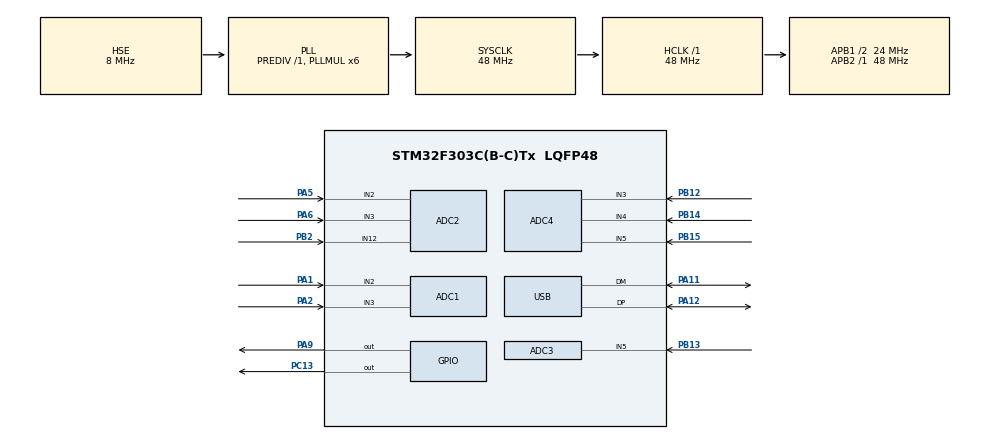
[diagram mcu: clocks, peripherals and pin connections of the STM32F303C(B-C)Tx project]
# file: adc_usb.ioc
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ADC1.Channel-0\#ChannelRegularConversion=ADC_CHANNEL_2
ADC1.Channel-1\#ChannelRegularConversion=ADC_CHANNEL_3
ADC1.Channel-2\#ChannelRegularConversion=ADC_CHANNEL_TEMPSENSOR
ADC1.Channel-3\#ChannelRegularConversion=ADC_CHANNEL_VREFINT
ADC1.ContinuousConvMode=ENABLE
ADC1.NbrOfConversion=4
ADC1.NbrOfConversionFlag=1
ADC1.Offset-0\#ChannelRegularConversion=0
ADC1.Offset-1\#ChannelRegularConversion=0
ADC1.Offset-2\#ChannelRegularConversion=0
ADC1.Offset-3\#ChannelRegularConversion=0
ADC1.OffsetNumber-0\#ChannelRegularConversion=ADC_OFFSET_NONE
ADC1.OffsetNumber-1\#ChannelRegularConversion=ADC_OFFSET_NONE
ADC1.OffsetNumber-2\#ChannelRegularConversion=ADC_OFFSET_NONE
ADC1.OffsetNumber-3\#ChannelRegularConversion=ADC_OFFSET_NONE
ADC1.Rank-0\#ChannelRegularConversion=1
ADC1.Rank-1\#ChannelRegularConversion=2
ADC1.Rank-2\#ChannelRegularConversion=3
ADC1.Rank-3\#ChannelRegularConversion=4
ADC1.SamplingTime-0\#ChannelRegularConversion=ADC_SAMPLETIME_601CYCLES_5
ADC1.SamplingTime-1\#ChannelRegularConversion=ADC_SAMPLETIME_601CYCLES_5
ADC1.SamplingTime-2\#ChannelRegularConversion=ADC_SAMPLETIME_601CYCLES_5
ADC1.SamplingTime-3\#ChannelRegularConversion=ADC_SAMPLETIME_601CYCLES_5
ADC1.SamplingTimeOPAMP-3\#ChannelRegularConversion=ADC_SAMPLETIME_19CYCLES_5
ADC1.master=1
ADC2.Channel-0\#ChannelRegularConversion=ADC_CHANNEL_2
ADC2.Channel-1\#ChannelRegularConversion=ADC_CHANNEL_3
ADC2.Channel-2\#ChannelRegularConversion=ADC_CHANNEL_12
ADC2.ContinuousConvMode=ENABLE
ADC2.NbrOfConversion=3
ADC2.NbrOfConversionFlag=1
ADC2.Offset-0\#ChannelRegularConversion=0
ADC2.Offset-1\#ChannelRegularConversion=0
ADC2.Offset-2\#ChannelRegularConversion=0
ADC2.OffsetNumber-0\#ChannelRegularConversion=ADC_OFFSET_NONE
ADC2.OffsetNumber-1\#ChannelRegularConversion=ADC_OFFSET_NONE
ADC2.OffsetNumber-2\#ChannelRegularConversion=ADC_OFFSET_NONE
ADC2.Rank-0\#ChannelRegularConversion=1
ADC2.Rank-1\#ChannelRegularConversion=2
ADC2.Rank-2\#ChannelRegularConversion=3
ADC2.SamplingTime-0\#ChannelRegularConversion=ADC_SAMPLETIME_601CYCLES_5
ADC2.SamplingTime-1\#ChannelRegularConversion=ADC_SAMPLETIME_601CYCLES_5
ADC2.SamplingTime-2\#ChannelRegularConversion=ADC_SAMPLETIME_601CYCLES_5
ADC2.SamplingTimeOPAMP-1\#ChannelRegularConversion=ADC_SAMPLETIME_19CYCLES_5
ADC2.SamplingTimeOPAMP-2\#ChannelRegularConversion=ADC_SAMPLETIME_19CYCLES_5
ADC3.Channel-0\#ChannelRegularConversion=ADC_CHANNEL_5
ADC3.ContinuousConvMode=ENABLE
ADC3.NbrOfConversionFlag=1
ADC3.Offset-0\#ChannelRegularConversion=0
ADC3.OffsetNumber-0\#ChannelRegularConversion=ADC_OFFSET_NONE
ADC3.Rank-0\#ChannelRegularConversion=1
ADC3.SamplingTime-0\#ChannelRegularConversion=ADC_SAMPLETIME_601CYCLES_5
ADC3.SamplingTimeOPAMP-0\#ChannelRegularConversion=ADC_SAMPLETIME_19CYCLES_5
ADC3.master=1
ADC4.Channel-0\#ChannelRegularConversion=ADC_CHANNEL_3
ADC4.Channel-3\#ChannelRegularConversion=ADC_CHANNEL_4
ADC4.Channel-4\#ChannelRegularConversion=ADC_CHANNEL_5
ADC4.ContinuousConvMode=ENABLE
ADC4.NbrOfConversion=3
ADC4.NbrOfConversionFlag=1
ADC4.Offset-3\#ChannelRegularConversion=0
ADC4.Offset-4\#ChannelRegularConversion=0
ADC4.OffsetNumber-3\#ChannelRegularConversion=ADC_OFFSET_NONE
ADC4.OffsetNumber-4\#ChannelRegularConversion=ADC_OFFSET_NONE
ADC4.Rank-3\#ChannelRegularConversion=2
ADC4.Rank-4\#ChannelRegularConversion=3
ADC4.SamplingTime-0\#ChannelRegularConversion=ADC_SAMPLETIME_601CYCLES_5
ADC4.SamplingTime-3\#ChannelRegularConversion=ADC_SAMPLETIME_601CYCLES_5
ADC4.SamplingTime-4\#ChannelRegularConversion=ADC_SAMPLETIME_601CYCLES_5
ADC4.SamplingTimeOPAMP-3\#ChannelRegularConversion=ADC_SAMPLETIME_19CYCLES_5
ADC4.SamplingTimeOPAMP-4\#ChannelRegularConversion=ADC_SAMPLETIME_19CYCLES_5
ADC4.SequencerNbRanks=1
Mcu.Family=STM32F3
Mcu.Name=STM32F303C(B-C)Tx
Mcu.Package=LQFP48
NVIC.PriorityGroup=NVIC_PRIORITYGROUP_4
NVIC.USB_LP_CAN_RX0_IRQn=true\:0\:0\:false\:false\:true\:false\:true\:true
PA1.Mode=IN2-Single-Ended
PA1.Signal=ADC1_IN2
PA11.Mode=Device
PA11.Signal=USB_DM
PA12.Mode=Device
PA12.Signal=USB_DP
PA2.Mode=IN3-Single-Ended
PA2.Signal=ADC1_IN3
PA5.Mode=IN2-Single-Ended
PA5.Signal=ADC2_IN2
PA6.Mode=IN3-Single-Ended
PA6.Signal=ADC2_IN3
PA9.Signal=GPIO_Output
PB12.Mode=IN3-Single-Ended
PB12.Signal=ADC4_IN3
PB13.Mode=IN5-Single-Ended
PB13.Signal=ADC3_IN5
PB14.Mode=IN4-Single-Ended
PB14.Signal=ADC4_IN4
PB15.Mode=IN5-Single-Ended
PB15.Signal=ADC4_IN5
PB2.Mode=IN12-Single-Ended
PB2.Signal=ADC2_IN12
PC13.Signal=GPIO_Output
PF0-OSC_IN.Mode=HSE-External-Oscillator
PF0-OSC_IN.Signal=RCC_OSC_IN
PF1-OSC_OUT.Mode=HSE-External-Oscillator
PF1-OSC_OUT.Signal=RCC_OSC_OUT
ProjectManager.HeapSize=0x200
ProjectManager.StackSize=0x400
ProjectManager.TargetToolchain=CMake
RCC.AHBFreq_Value=48000000
RCC.APB1CLKDivider=RCC_HCLK_DIV2
RCC.APB1Freq_Value=24000000
RCC.APB1TimFreq_Value=48000000
RCC.APB2Freq_Value=48000000
RCC.APB2TimFreq_Value=48000000
RCC.CortexFreq_Value=48000000
RCC.HCLKFreq_Value=48000000
RCC.HSE_VALUE=8000000
RCC.HSI_VALUE=8000000
RCC.LSE_VALUE=32768
RCC.PLLMUL=RCC_PLL_MUL6
RCC.SYSCLKFreq_VALUE=48000000
RCC.SYSCLKSourceVirtual=RCC_SYSCLKSOURCE_PLLCLK
RCC.USBFreq_Value=48000000
USB_DEVICE.CLASS_NAME_FS=CDC
USB_DEVICE.USBD_DEBUG_LEVEL=3
USB_DEVICE.USBD_MAX_STR_DESC_SIZ=512
USB_DEVICE.VirtualMode=Cdc
USB_DEVICE.VirtualModeFS=Cdc_FS
VP_ADC1_TempSens_Input.Mode=IN-TempSens
VP_ADC1_Vref_Input.Mode=IN-Vrefint
VP_USB_DEVICE_VS_USB_DEVICE_CDC_FS.Mode=CDC_FS
board=custom

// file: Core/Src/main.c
/* USER CODE BEGIN Header */
/**
  ******************************************************************************
  * @file           : main.c
  * @brief          : Main program body
  ******************************************************************************
  * @attention
  *
  * Copyright (c) 2024 STMicroelectronics.
  * All rights reserved.
  *
  * This software is licensed under terms that can be found in the LICENSE file
  * in the root directory of this software component.
  * If no LICENSE file comes with this software, it is provided AS-IS.
  *
  ******************************************************************************
  */
/* USER CODE END Header */
#include "main.h"
#include "usb_device.h"

/* USER CODE BEGIN Includes */
#include "adc_read.h"
/* USER CODE END Includes */

ADC_HandleTypeDef hadc1;
ADC_HandleTypeDef hadc2;
ADC_HandleTypeDef hadc3;
ADC_HandleTypeDef hadc4;

void SystemClock_Config(void);
static void MX_GPIO_Init(void);
static void MX_ADC4_Init(void);
static void MX_ADC1_Init(void);
static void MX_ADC2_Init(void);
static void MX_ADC3_Init(void);

int main(void)
{

  /* MCU Configuration--------------------------------------------------------*/

  /* Reset of all peripherals, Initializes the Flash interface and the Systick. */
  HAL_Init();

  /* Configure the system clock */
  SystemClock_Config();

  /* Initialize all configured peripherals */
  MX_GPIO_Init();
  MX_ADC4_Init();
  MX_USB_DEVICE_Init();
  MX_ADC1_Init();
  MX_ADC2_Init();
  MX_ADC3_Init();
  /* USER CODE BEGIN 2 */
  HAL_GPIO_WritePin(GPIOA, GPIO_PIN_9, GPIO_PIN_SET);
  /* USER CODE END 2 */

  /* Infinite loop */
  /* USER CODE BEGIN WHILE */
  int i=1;
  while (1)
  {
    // CDC_Transmit_FS(buffer, sizeof(buffer));
    HAL_GPIO_WritePin(GPIOC, GPIO_PIN_13, GPIO_PIN_SET);
    HAL_Delay(1000);
    HAL_GPIO_WritePin(GPIOC, GPIO_PIN_13, GPIO_PIN_RESET);
    HAL_Delay(1000);
    for (;i%10!=0; i++)
    {
      HAL_Delay(10);
      printf("ATTEMPTING TO OVERFLOW BUFFER %d\r\n", i);
    }
    i++;
    while (1)
    {
      HAL_Delay(1000);
      adc1_read(&hadc1);
      adc2_read(&hadc2);
      adc3_read(&hadc3);
      adc4_read(&hadc4);

    }
    /* USER CODE END WHILE */

  }
}

void SystemClock_Config(void)
{
  RCC_OscInitTypeDef RCC_OscInitStruct = {0};
  RCC_ClkInitTypeDef RCC_ClkInitStruct = {0};
  RCC_PeriphCLKInitTypeDef PeriphClkInit = {0};

  /** Initializes the RCC Oscillators according to the specified parameters
  * in the RCC_OscInitTypeDef structure.
  */
  RCC_OscInitStruct.OscillatorType = RCC_OSCILLATORTYPE_HSE;
  RCC_OscInitStruct.HSEState = RCC_HSE_ON;
  RCC_OscInitStruct.HSEPredivValue = RCC_HSE_PREDIV_DIV1;
  RCC_OscInitStruct.HSIState = RCC_HSI_ON;
  RCC_OscInitStruct.PLL.PLLState = RCC_PLL_ON;
  RCC_OscInitStruct.PLL.PLLSource = RCC_PLLSOURCE_HSE;
  RCC_OscInitStruct.PLL.PLLMUL = RCC_PLL_MUL6;
  if (HAL_RCC_OscConfig(&RCC_OscInitStruct) != HAL_OK)
  {
    Error_Handler();
  }

  /** Initializes the CPU, AHB and APB buses clocks
  */
  RCC_ClkInitStruct.ClockType = RCC_CLOCKTYPE_HCLK|RCC_CLOCKTYPE_SYSCLK
                              |RCC_CLOCKTYPE_PCLK1|RCC_CLOCKTYPE_PCLK2;
  RCC_ClkInitStruct.SYSCLKSource = RCC_SYSCLKSOURCE_PLLCLK;
  RCC_ClkInitStruct.AHBCLKDivider = RCC_SYSCLK_DIV1;
  RCC_ClkInitStruct.APB1CLKDivider = RCC_HCLK_DIV2;
  RCC_ClkInitStruct.APB2CLKDivider = RCC_HCLK_DIV1;

  if (HAL_RCC_ClockConfig(&RCC_ClkInitStruct, FLASH_LATENCY_1) != HAL_OK)
  {
    Error_Handler();
  }
  PeriphClkInit.PeriphClockSelection = RCC_PERIPHCLK_USB|RCC_PERIPHCLK_ADC12
                              |RCC_PERIPHCLK_ADC34;
  PeriphClkInit.Adc12ClockSelection = RCC_ADC12PLLCLK_DIV1;
  PeriphClkInit.Adc34ClockSelection = RCC_ADC34PLLCLK_DIV1;
  PeriphClkInit.USBClockSelection = RCC_USBCLKSOURCE_PLL;
  if (HAL_RCCEx_PeriphCLKConfig(&PeriphClkInit) != HAL_OK)
  {
    Error_Handler();
  }
}

static void MX_ADC1_Init(void)
{

  ADC_MultiModeTypeDef multimode = {0};
  ADC_ChannelConfTypeDef sConfig = {0};

  /** Common config
  */
  hadc1.Instance = ADC1;
  hadc1.Init.ClockPrescaler = ADC_CLOCK_ASYNC_DIV1;
  hadc1.Init.Resolution = ADC_RESOLUTION_12B;
  hadc1.Init.ScanConvMode = ADC_SCAN_ENABLE;
  hadc1.Init.ContinuousConvMode = ENABLE;
  hadc1.Init.DiscontinuousConvMode = DISABLE;
  hadc1.Init.ExternalTrigConvEdge = ADC_EXTERNALTRIGCONVEDGE_NONE;
  hadc1.Init.ExternalTrigConv = ADC_SOFTWARE_START;
  hadc1.Init.DataAlign = ADC_DATAALIGN_RIGHT;
  hadc1.Init.NbrOfConversion = 4;
  hadc1.Init.DMAContinuousRequests = DISABLE;
  hadc1.Init.EOCSelection = ADC_EOC_SINGLE_CONV;
  hadc1.Init.LowPowerAutoWait = DISABLE;
  hadc1.Init.Overrun = ADC_OVR_DATA_OVERWRITTEN;
  if (HAL_ADC_Init(&hadc1) != HAL_OK)
  {
    Error_Handler();
  }

  /** Configure the ADC multi-mode
  */
  multimode.Mode = ADC_MODE_INDEPENDENT;
  if (HAL_ADCEx_MultiModeConfigChannel(&hadc1, &multimode) != HAL_OK)
  {
    Error_Handler();
  }

  /** Configure Regular Channel
  */
  sConfig.Channel = ADC_CHANNEL_2;
  sConfig.Rank = ADC_REGULAR_RANK_1;
  sConfig.SingleDiff = ADC_SINGLE_ENDED;
  sConfig.SamplingTime = ADC_SAMPLETIME_601CYCLES_5;
  sConfig.OffsetNumber = ADC_OFFSET_NONE;
  sConfig.Offset = 0;
  if (HAL_ADC_ConfigChannel(&hadc1, &sConfig) != HAL_OK)
  {
    Error_Handler();
  }

  /** Configure Regular Channel
  */
  sConfig.Channel = ADC_CHANNEL_3;
  sConfig.Rank = ADC_REGULAR_RANK_2;
  if (HAL_ADC_ConfigChannel(&hadc1, &sConfig) != HAL_OK)
  {
    Error_Handler();
  }

  /** Configure Regular Channel
  */
  sConfig.Channel = ADC_CHANNEL_TEMPSENSOR;
  sConfig.Rank = ADC_REGULAR_RANK_3;
  if (HAL_ADC_ConfigChannel(&hadc1, &sConfig) != HAL_OK)
  {
    Error_Handler();
  }

  /** Configure Regular Channel
  */
  sConfig.Channel = ADC_CHANNEL_VREFINT;
  sConfig.Rank = ADC_REGULAR_RANK_4;
  if (HAL_ADC_ConfigChannel(&hadc1, &sConfig) != HAL_OK)
  {
    Error_Handler();
  }

}

static void MX_ADC2_Init(void)
{

  ADC_ChannelConfTypeDef sConfig = {0};

  /** Common config
  */
  hadc2.Instance = ADC2;
  hadc2.Init.ClockPrescaler = ADC_CLOCK_ASYNC_DIV1;
  hadc2.Init.Resolution = ADC_RESOLUTION_12B;
  hadc2.Init.ScanConvMode = ADC_SCAN_ENABLE;
  hadc2.Init.ContinuousConvMode = ENABLE;
  hadc2.Init.DiscontinuousConvMode = DISABLE;
  hadc2.Init.ExternalTrigConvEdge = ADC_EXTERNALTRIGCONVEDGE_NONE;
  hadc2.Init.ExternalTrigConv = ADC_SOFTWARE_START;
  hadc2.Init.DataAlign = ADC_DATAALIGN_RIGHT;
  hadc2.Init.NbrOfConversion = 3;
  hadc2.Init.DMAContinuousRequests = DISABLE;
  hadc2.Init.EOCSelection = ADC_EOC_SINGLE_CONV;
  hadc2.Init.LowPowerAutoWait = DISABLE;
  hadc2.Init.Overrun = ADC_OVR_DATA_OVERWRITTEN;
  if (HAL_ADC_Init(&hadc2) != HAL_OK)
  {
    Error_Handler();
  }

  /** Configure Regular Channel
  */
  sConfig.Channel = ADC_CHANNEL_2;
  sConfig.Rank = ADC_REGULAR_RANK_1;
  sConfig.SingleDiff = ADC_SINGLE_ENDED;
  sConfig.SamplingTime = ADC_SAMPLETIME_601CYCLES_5;
  sConfig.OffsetNumber = ADC_OFFSET_NONE;
  sConfig.Offset = 0;
  if (HAL_ADC_ConfigChannel(&hadc2, &sConfig) != HAL_OK)
  {
    Error_Handler();
  }

  /** Configure Regular Channel
  */
  sConfig.Channel = ADC_CHANNEL_3;
  sConfig.Rank = ADC_REGULAR_RANK_2;
  if (HAL_ADC_ConfigChannel(&hadc2, &sConfig) != HAL_OK)
  {
    Error_Handler();
  }

  /** Configure Regular Channel
  */
  sConfig.Channel = ADC_CHANNEL_12;
  sConfig.Rank = ADC_REGULAR_RANK_3;
  if (HAL_ADC_ConfigChannel(&hadc2, &sConfig) != HAL_OK)
  {
    Error_Handler();
  }

}

static void MX_ADC3_Init(void)
{

  ADC_MultiModeTypeDef multimode = {0};
  ADC_ChannelConfTypeDef sConfig = {0};

  /** Common config
  */
  hadc3.Instance = ADC3;
  hadc3.Init.ClockPrescaler = ADC_CLOCK_ASYNC_DIV1;
  hadc3.Init.Resolution = ADC_RESOLUTION_12B;
  hadc3.Init.ScanConvMode = ADC_SCAN_DISABLE;
  hadc3.Init.ContinuousConvMode = ENABLE;
  hadc3.Init.DiscontinuousConvMode = DISABLE;
  hadc3.Init.ExternalTrigConvEdge = ADC_EXTERNALTRIGCONVEDGE_NONE;
  hadc3.Init.ExternalTrigConv = ADC_SOFTWARE_START;
  hadc3.Init.DataAlign = ADC_DATAALIGN_RIGHT;
  hadc3.Init.NbrOfConversion = 1;
  hadc3.Init.DMAContinuousRequests = DISABLE;
  hadc3.Init.EOCSelection = ADC_EOC_SINGLE_CONV;
  hadc3.Init.LowPowerAutoWait = DISABLE;
  hadc3.Init.Overrun = ADC_OVR_DATA_OVERWRITTEN;
  if (HAL_ADC_Init(&hadc3) != HAL_OK)
  {
    Error_Handler();
  }

  /** Configure the ADC multi-mode
  */
  multimode.Mode = ADC_MODE_INDEPENDENT;
  if (HAL_ADCEx_MultiModeConfigChannel(&hadc3, &multimode) != HAL_OK)
  {
    Error_Handler();
  }

  /** Configure Regular Channel
  */
  sConfig.Channel = ADC_CHANNEL_5;
  sConfig.Rank = ADC_REGULAR_RANK_1;
  sConfig.SingleDiff = ADC_SINGLE_ENDED;
  sConfig.SamplingTime = ADC_SAMPLETIME_601CYCLES_5;
  sConfig.OffsetNumber = ADC_OFFSET_NONE;
  sConfig.Offset = 0;
  if (HAL_ADC_ConfigChannel(&hadc3, &sConfig) != HAL_OK)
  {
    Error_Handler();
  }

}

static void MX_ADC4_Init(void)
{

  ADC_ChannelConfTypeDef sConfig = {0};

  /** Common config
  */
  hadc4.Instance = ADC4;
  hadc4.Init.ClockPrescaler = ADC_CLOCK_ASYNC_DIV1;
  hadc4.Init.Resolution = ADC_RESOLUTION_12B;
  hadc4.Init.ScanConvMode = ADC_SCAN_ENABLE;
  hadc4.Init.ContinuousConvMode = ENABLE;
  hadc4.Init.DiscontinuousConvMode = DISABLE;
  hadc4.Init.ExternalTrigConvEdge = ADC_EXTERNALTRIGCONVEDGE_NONE;
  hadc4.Init.ExternalTrigConv = ADC_SOFTWARE_START;
  hadc4.Init.DataAlign = ADC_DATAALIGN_RIGHT;
  hadc4.Init.NbrOfConversion = 3;
  hadc4.Init.DMAContinuousRequests = DISABLE;
  hadc4.Init.EOCSelection = ADC_EOC_SINGLE_CONV;
  hadc4.Init.LowPowerAutoWait = DISABLE;
  hadc4.Init.Overrun = ADC_OVR_DATA_OVERWRITTEN;
  if (HAL_ADC_Init(&hadc4) != HAL_OK)
  {
    Error_Handler();
  }

  /** Configure Regular Channel
  */
  sConfig.Channel = ADC_CHANNEL_3;
  sConfig.Rank = ADC_REGULAR_RANK_1;
  sConfig.SingleDiff = ADC_SINGLE_ENDED;
  sConfig.SamplingTime = ADC_SAMPLETIME_601CYCLES_5;
  sConfig.OffsetNumber = ADC_OFFSET_NONE;
  sConfig.Offset = 0;
  if (HAL_ADC_ConfigChannel(&hadc4, &sConfig) != HAL_OK)
  {
    Error_Handler();
  }

  /** Configure Regular Channel
  */
  sConfig.Channel = ADC_CHANNEL_4;
  sConfig.Rank = ADC_REGULAR_RANK_2;
  if (HAL_ADC_ConfigChannel(&hadc4, &sConfig) != HAL_OK)
  {
    Error_Handler();
  }

  /** Configure Regular Channel
  */
  sConfig.Channel = ADC_CHANNEL_5;
  sConfig.Rank = ADC_REGULAR_RANK_3;
  if (HAL_ADC_ConfigChannel(&hadc4, &sConfig) != HAL_OK)
  {
    Error_Handler();
  }

}

static void MX_GPIO_Init(void)
{
  GPIO_InitTypeDef GPIO_InitStruct = {0};

  /* GPIO Ports Clock Enable */
  __HAL_RCC_GPIOC_CLK_ENABLE();
  __HAL_RCC_GPIOF_CLK_ENABLE();
  __HAL_RCC_GPIOA_CLK_ENABLE();
  __HAL_RCC_GPIOB_CLK_ENABLE();

  /*Configure GPIO pin Output Level */
  HAL_GPIO_WritePin(GPIOC, GPIO_PIN_13, GPIO_PIN_RESET);

  /*Configure GPIO pin Output Level */
  HAL_GPIO_WritePin(GPIOA, GPIO_PIN_9, GPIO_PIN_RESET);

  /*Configure GPIO pin : PC13 */
  GPIO_InitStruct.Pin = GPIO_PIN_13;
  GPIO_InitStruct.Mode = GPIO_MODE_OUTPUT_PP;
  GPIO_InitStruct.Pull = GPIO_NOPULL;
  GPIO_InitStruct.Speed = GPIO_SPEED_FREQ_LOW;
  HAL_GPIO_Init(GPIOC, &GPIO_InitStruct);

  /*Configure GPIO pin : PA9 */
  GPIO_InitStruct.Pin = GPIO_PIN_9;
  GPIO_InitStruct.Mode = GPIO_MODE_OUTPUT_PP;
  GPIO_InitStruct.Pull = GPIO_NOPULL;
  GPIO_InitStruct.Speed = GPIO_SPEED_FREQ_LOW;
  HAL_GPIO_Init(GPIOA, &GPIO_InitStruct);

}

void Error_Handler(void)
{
  __disable_irq();
  while (1)
  {
  }
}
